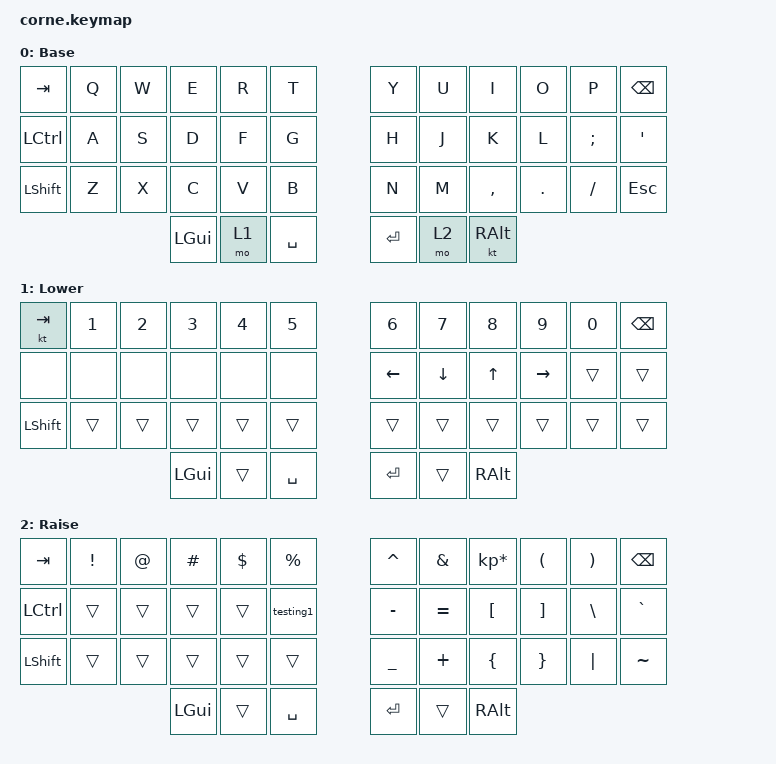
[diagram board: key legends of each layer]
/*
 * Copyright (c) 2020 The ZMK Contributors
 *
 * SPDX-License-Identifier: MIT
 */

#include <behaviors.dtsi>
#include <dt-bindings/zmk/bt.h>
#include <dt-bindings/zmk/keys.h>
#include <dt-bindings/zmk/keys.h>

/ {
    combos {
        compatible = "zmk,combos";

        rt {
            bindings = <&testing1>;
            key-positions = <4 5>;
            layers = <0>;
        };

        BT_CLEAR {
            bindings = <&bt BT_CLR_ALL>;
            key-positions = <5 4 3 29>;
        };
    };

    macros {
        testing1: testing1 {
            compatible = "zmk,behavior-macro";
            #binding-cells = <0>;
            bindings = <&kp LS(T) &kp E &kp S &kp T &kp I &kp N &kp G &kp N1 &kp N2 &kp N3>;
            label = "TESTING1";
        };
    };

    keymap {
        compatible = "zmk,keymap";

        default_layer {
            // -----------------------------------------------------------------------------------------
            // |  TAB |  Q  |  W  |  E  |  R  |  T  |   |  Y  |  U   |  I  |  O  |  P  | BKSP |
            // | CTRL |  A  |  S  |  D  |  F  |  G  |   |  H  |  J   |  K  |  L  |  ;  |  '   |
            // | SHFT |  Z  |  X  |  C  |  V  |  B  |   |  N  |  M   |  ,  |  .  |  /  | ESC  |
            //                    | GUI | LWR | SPC |   | ENT | RSE  | ALT |

            display-name = "Base";
            bindings = <
&kp TAB    &kp Q  &kp W  &kp E     &kp R  &kp T        &kp Y    &kp U  &kp I      &kp O    &kp P     &kp BSPC
&kp LCTRL  &kp A  &kp S  &kp D     &kp F  &kp G        &kp H    &kp J  &kp K      &kp L    &kp SEMI  &kp SQT
&kp LSHFT  &kp Z  &kp X  &kp C     &kp V  &kp B        &kp N    &kp M  &kp COMMA  &kp DOT  &kp FSLH  &kp ESC
                         &kp LGUI  &mo 1  &kp SPACE    &kp RET  &mo 2  &kt RALT
            >;
        };

        lower_layer {
            // -----------------------------------------------------------------------------------------
            // |  TAB |  1  |  2  |  3  |  4  |  5  |   |  6  |  7  |  8  |  9  |  0  | BKSP |
            // | BTCLR| BT1 | BT2 | BT3 | BT4 | BT5 |   | LFT | DWN |  UP | RGT |     |      |
            // | SHFT |     |     |     |     |     |   |     |     |     |     |     |      |
            //                    | GUI |     | SPC |   | ENT |     | ALT |

            display-name = "Lower";
            bindings = <
&kt TAB    &kp N1  &kp N2  &kp N3    &kp N4  &kp N5       &kp N6    &kp N7    &kp N8    &kp N9     &kp N0  &kp BSPC
&none      &none   &none   &none     &none   &none        &kp LEFT  &kp DOWN  &kp UP    &kp RIGHT  &trans  &trans
&kp LSHFT  &trans  &trans  &trans    &trans  &trans       &trans    &trans    &trans    &trans     &trans  &trans
                           &kp LGUI  &trans  &kp SPACE    &kp RET   &trans    &kp RALT
            >;
        };

        raise_layer {
            // -----------------------------------------------------------------------------------------
            // |  TAB |  !  |  @  |  #  |  $  |  %  |   |  ^  |  &  |  *  |  (  |  )  | BKSP |
            // | CTRL |     |     |     |     |     |   |  -  |  =  |  [  |  ]  |  \  |  `   |
            // | SHFT |     |     |     |     |     |   |  _  |  +  |  {  |  }  | "|" |  ~   |
            //                    | GUI |     | SPC |   | ENT |     | ALT |

            display-name = "Raise";
            bindings = <
&kp TAB    &kp EXCL  &kp AT  &kp HASH  &kp DLLR  &kp PRCNT    &kp CARET  &kp AMPS   &kp KP_MULTIPLY  &kp LPAR  &kp RPAR  &kp BSPC
&kp LCTRL  &trans    &trans  &trans    &trans    &testing1    &kp MINUS  &kp EQUAL  &kp LBKT         &kp RBKT  &kp BSLH  &kp GRAVE
&kp LSHFT  &trans    &trans  &trans    &trans    &trans       &kp UNDER  &kp PLUS   &kp LBRC         &kp RBRC  &kp PIPE  &kp TILDE
                             &kp LGUI  &trans    &kp SPACE    &kp RET    &trans     &kp RALT
            >;
        };

        extra_1 { status = "reserved"; };

        extra_2 { status = "reserved"; };

        extra_3 { status = "reserved"; };
    };

    conditional_layers {
        compatible = "zmk,conditional-layers";

        new3 {
            if-layers = <0 1>;
            then-layer = <2>;
        };
    };
};
